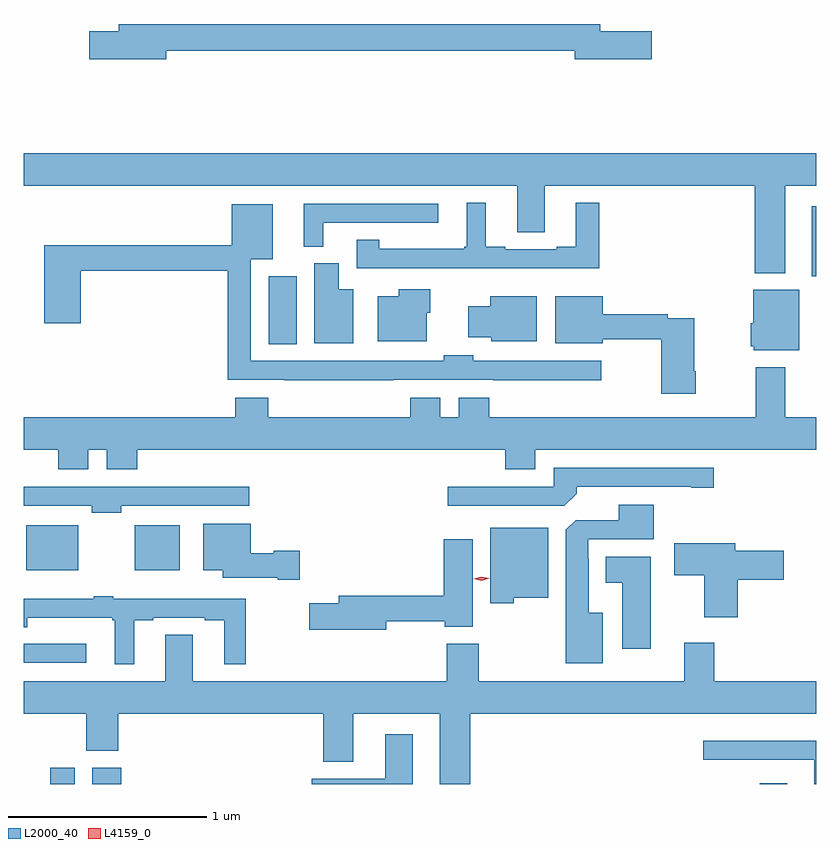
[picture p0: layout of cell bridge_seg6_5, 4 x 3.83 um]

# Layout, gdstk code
import gdstk
lib = gdstk.Library(unit=1e-6, precision=1e-09)
def R(c, l, rs):  # rectangles x0, y0, x1, y1
    for r in rs: c.add(gdstk.rectangle(r[:2], r[2:], *l))
def P(c, l, *ps):  # polygons
    for p in ps: c.add(gdstk.Polygon(p, *l))
L2000_40 = (2000, 40)
L4159_0 = (4159, 0)

bridge_seg6_5 = lib.new_cell('bridge_seg6_5')
R(bridge_seg6_5, L2000_40, [(974.108,956.305,974.23,956.386), (974.318,956.305,974.465,956.388), (977.687,956.305,977.827,956.308), (973.973,956.916,974.29,957.012), (973.985,957.383,974.248,957.61), (974.534,957.383,974.761,957.61), (975.209,958.525,975.352,958.867), (977.951,958.868,977.973,959.221)])
P(bridge_seg6_5, L2000_40, [(974.692,960.004),(976.754,960.004),(976.754,959.962),(977.143,959.962),(977.143,960.104),(976.882,960.104),(976.882,960.14),(974.453,960.14),(974.453,960.104),(974.304,960.104),(974.304,959.962),(974.692,959.962)],
  [(977.815,959.324),(977.973,959.324),(977.973,959.488),(973.973,959.488),(973.973,959.324),(976.463,959.324),(976.463,959.089),(976.603,959.089),(976.603,959.324),(977.663,959.324),(977.663,958.883),(977.815,958.883)],
  [(976.877,959.239),(976.76,959.239),(976.76,959.017),(976.664,959.017),(976.664,959.004),(976.402,959.004),(976.402,959.017),(976.306,959.017),(976.306,959.239),(976.208,959.239),(976.208,959.017),(976.197,959.017),(976.197,959.005),(975.767,959.005),(975.767,959.051),(975.654,959.051),(975.654,958.908),(976.302,958.908),(976.302,958.907),(976.877,958.907)],
  [(975.484,959.136),(976.066,959.136),(976.066,959.232),(975.386,959.232),(975.386,959.017),(975.484,959.017)],
  [(975.839,958.344),(976.342,958.344),(976.342,958.343),(976.888,958.343),(976.888,958.44),(976.242,958.44),(976.242,958.468),(976.092,958.468),(976.092,958.44),(975.12,958.44),(975.12,958.952),(975.229,958.952),(975.229,959.23),(975.023,959.23),(975.023,959.023),(974.078,959.023),(974.078,958.629),(974.261,958.629),(974.261,958.894),(975.004,958.894),(975.004,958.344),(975.289,958.344),(975.289,958.343),(975.839,958.343)],
  [(975.637,958.801),(975.562,958.801),(975.562,958.932),(975.44,958.932),(975.44,958.529),(975.637,958.529)],
  [(976.006,958.683),(976.024,958.683),(976.024,958.801),(975.866,958.801),(975.866,958.765),(975.761,958.765),(975.761,958.538),(976.006,958.538)],
  [(977.887,958.798),(977.654,958.798),(977.654,958.629),(977.642,958.629),(977.642,958.515),(977.658,958.515),(977.658,958.493),(977.887,958.493)],
  [(977.364,958.387),(977.356,958.387),(977.356,958.656),(977.222,958.656),(977.222,958.676),(976.894,958.676),(976.894,958.765),(976.655,958.765),(976.655,958.529),(976.894,958.529),(976.894,958.548),(977.191,958.548),(977.191,958.275),(977.364,958.275)],
  [(976.561,958.765),(976.328,958.765),(976.328,958.717),(976.217,958.717),(976.217,958.559),(976.332,958.559),(976.332,958.538),(976.561,958.538)],
  [(974.299,957.992),(974.393,957.992),(974.393,957.893),(974.546,957.893),(974.546,957.992),(976.403,957.992),(976.403,957.893),(976.555,957.893),(976.555,957.992),(977.973,957.992),(977.973,958.156),(977.815,958.156),(977.815,958.408),(977.668,958.408),(977.668,958.156),(976.322,958.156),(976.322,958.255),(976.169,958.255),(976.169,958.156),(976.075,958.156),(976.075,958.255),(975.923,958.255),(975.923,958.156),(975.206,958.156),(975.206,958.255),(975.041,958.255),(975.041,958.156),(973.973,958.156),(973.973,957.992),(974.147,957.992),(974.147,957.893),(974.299,957.893)],
  [(976.763,957.77),(976.763,957.804),(977.342,957.804),(977.342,957.799),(977.455,957.799),(977.455,957.9),(976.647,957.9),(976.647,957.804),(976.113,957.804),(976.113,957.708),(976.701,957.708)],
  [(974.466,957.708),(975.112,957.708),(975.112,957.806),(974.566,957.806),(974.566,957.804),(974.063,957.804),(974.063,957.806),(973.973,957.806),(973.973,957.708),(974.316,957.708),(974.316,957.673),(974.466,957.673)],
  [(976.894,957.169),(976.825,957.169),(976.825,957.443),(976.821,957.443),(976.821,957.54),(977.152,957.54),(977.152,957.715),(976.976,957.715),(976.976,957.636),(976.758,957.636),(976.709,957.587),(976.709,956.915),(976.894,956.915)],
  [(975.367,957.482),(975.234,957.482),(975.234,957.469),(975.118,957.469),(975.118,957.619),(974.879,957.619),(974.879,957.383),(974.978,957.383),(974.978,957.347),(975.254,957.347),(975.254,957.335),(975.367,957.335)],
  [(976.446,957.245),(976.621,957.245),(976.621,957.598),(976.328,957.598),(976.328,957.218),(976.446,957.218)],
  [(975.802,957.126),(976.099,957.126),(976.099,957.098),(976.24,957.098),(976.24,957.541),(976.094,957.541),(976.094,957.254),(975.563,957.254),(975.563,957.218),(975.414,957.218),(975.414,957.083),(975.802,957.083)],
  [(977.576,957.335),(977.809,957.335),(977.809,957.482),(977.563,957.482),(977.563,957.52),(977.256,957.52),(977.256,957.358),(977.408,957.358),(977.408,957.147),(977.576,957.147)],
  [(977.137,957.451),(976.91,957.451),(976.91,957.32),(976.994,957.32),(976.994,956.988),(977.137,956.988)],
  [(974.53,957.132),(974.626,957.132),(974.626,957.144),(974.888,957.144),(974.888,957.132),(974.984,957.132),(974.984,956.909),(975.094,956.909),(975.094,957.241),(974.426,957.241),(974.426,957.253),(974.326,957.253),(974.326,957.241),(973.973,957.241),(973.973,957.097),(973.991,957.097),(973.991,957.143),(974.421,957.143),(974.421,957.132),(974.432,957.132),(974.432,956.909),(974.53,956.909)],
  [(976.226,956.66),(977.973,956.66),(977.973,956.824),(977.459,956.824),(977.459,957.019),(977.306,957.019),(977.306,956.824),(976.269,956.824),(976.269,957.013),(976.109,957.013),(976.109,956.824),(974.827,956.824),(974.827,957.059),(974.687,957.059),(974.687,956.824),(973.973,956.824),(973.973,956.66),(974.29,956.66),(974.29,956.473),(974.45,956.473),(974.45,956.66),(975.485,956.66),(975.485,956.417),(975.637,956.417),(975.637,956.66),(976.073,956.66),(976.073,956.305),(976.226,956.305)],
  [(975.937,956.557),(975.797,956.557),(975.797,956.332),(975.428,956.332),(975.428,956.305),(975.937,956.305)],
  [(977.973,956.524),(977.403,956.524),(977.403,956.427),(977.963,956.427),(977.963,956.305),(977.973,956.305)])
P(bridge_seg6_5, L4159_0, [(976.284,957.331),(976.245,957.34),(976.245,957.34),(976.245,957.34),(976.283,957.351),(976.322,957.342),(976.322,957.342),(976.322,957.342)])

lib.write_gds('bridge_seg6_5.gds')
